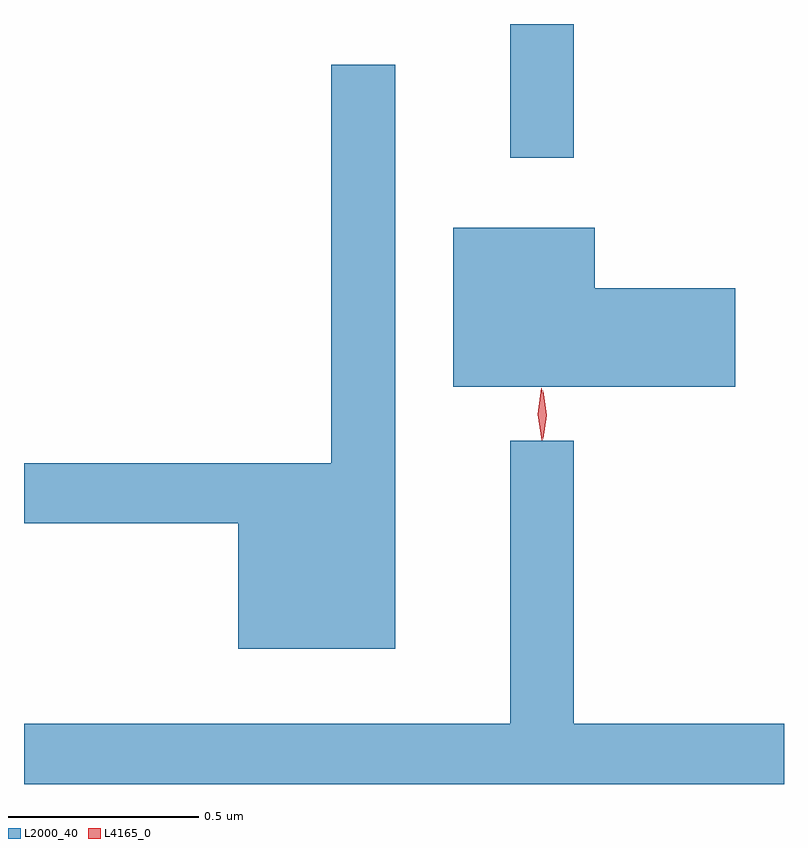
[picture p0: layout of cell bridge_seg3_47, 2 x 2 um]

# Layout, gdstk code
import gdstk
lib = gdstk.Library(unit=1e-6, precision=1e-09)
def R(c, l, rs):  # rectangles x0, y0, x1, y1
    for r in rs: c.add(gdstk.rectangle(r[:2], r[2:], *l))
def P(c, l, *ps):  # polygons
    for p in ps: c.add(gdstk.Polygon(p, *l))
L2000_40 = (2000, 40)
L4165_0 = (4165, 0)

bridge_seg3_47 = lib.new_cell('bridge_seg3_47')
R(bridge_seg3_47, L2000_40, [(1197.251,1205.473,1197.419,1205.825)])
P(bridge_seg3_47, L2000_40, [(1196.949,1205.718),(1196.781,1205.718),(1196.781,1204.669),(1195.972,1204.669),(1195.972,1204.511),(1196.536,1204.511),(1196.536,1204.181),(1196.949,1204.181)],
  [(1197.844,1205.129),(1197.474,1205.129),(1197.474,1205.289),(1197.101,1205.289),(1197.101,1204.871),(1197.844,1204.871)],
  [(1197.972,1203.984),(1197.419,1203.984),(1197.419,1204.728),(1197.251,1204.728),(1197.251,1203.984),(1195.972,1203.984),(1195.972,1203.825),(1197.972,1203.825)])
P(bridge_seg3_47, L4165_0, [(1197.334,1204.73),(1197.324,1204.798),(1197.333,1204.866),(1197.334,1204.866),(1197.334,1204.866),(1197.344,1204.798),(1197.336,1204.73),(1197.335,1204.73)],
  [(1197.338,1204.733),(1197.338,1204.734),(1197.328,1204.796),(1197.338,1204.86),(1197.338,1204.86),(1197.338,1204.86),(1197.348,1204.796),(1197.338,1204.734)])

lib.write_gds('bridge_seg3_47.gds')
